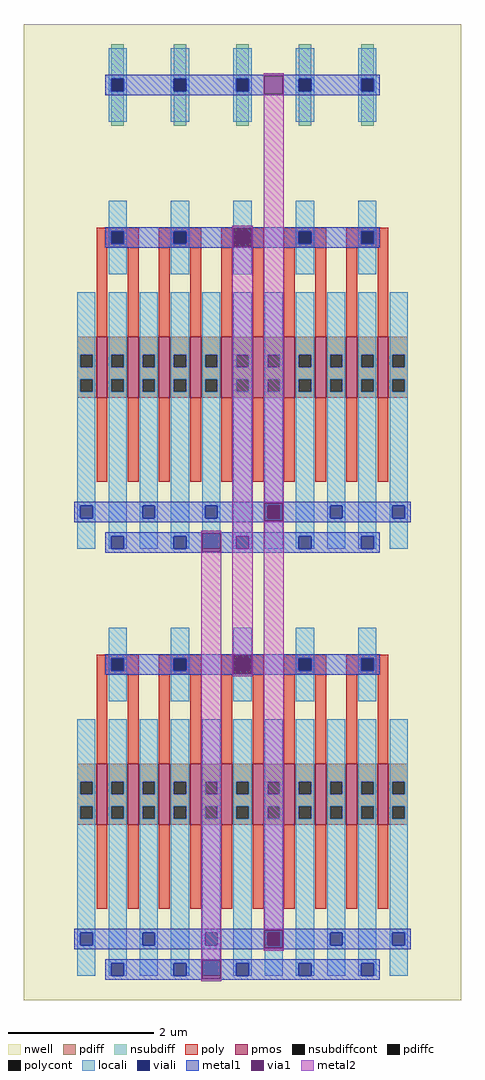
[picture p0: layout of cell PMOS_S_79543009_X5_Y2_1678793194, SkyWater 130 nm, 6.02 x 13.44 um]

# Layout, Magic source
magic
tech sky130A
magscale 1 2
<< nwell >>
rect 0 0 1204 2688
<< pmos >>
rect 200 1659 230 1827
rect 286 1659 316 1827
rect 372 1659 402 1827
rect 458 1659 488 1827
rect 544 1659 574 1827
rect 630 1659 660 1827
rect 716 1659 746 1827
rect 802 1659 832 1827
rect 888 1659 918 1827
rect 974 1659 1004 1827
rect 200 483 230 651
rect 286 483 316 651
rect 372 483 402 651
rect 458 483 488 651
rect 544 483 574 651
rect 630 483 660 651
rect 716 483 746 651
rect 802 483 832 651
rect 888 483 918 651
rect 974 483 1004 651
<< pdiff >>
rect 147 1777 200 1827
rect 147 1743 155 1777
rect 189 1743 200 1777
rect 147 1709 200 1743
rect 147 1675 155 1709
rect 189 1675 200 1709
rect 147 1659 200 1675
rect 230 1777 286 1827
rect 230 1743 241 1777
rect 275 1743 286 1777
rect 230 1709 286 1743
rect 230 1675 241 1709
rect 275 1675 286 1709
rect 230 1659 286 1675
rect 316 1777 372 1827
rect 316 1743 327 1777
rect 361 1743 372 1777
rect 316 1709 372 1743
rect 316 1675 327 1709
rect 361 1675 372 1709
rect 316 1659 372 1675
rect 402 1777 458 1827
rect 402 1743 413 1777
rect 447 1743 458 1777
rect 402 1709 458 1743
rect 402 1675 413 1709
rect 447 1675 458 1709
rect 402 1659 458 1675
rect 488 1777 544 1827
rect 488 1743 499 1777
rect 533 1743 544 1777
rect 488 1709 544 1743
rect 488 1675 499 1709
rect 533 1675 544 1709
rect 488 1659 544 1675
rect 574 1777 630 1827
rect 574 1743 585 1777
rect 619 1743 630 1777
rect 574 1709 630 1743
rect 574 1675 585 1709
rect 619 1675 630 1709
rect 574 1659 630 1675
rect 660 1777 716 1827
rect 660 1743 671 1777
rect 705 1743 716 1777
rect 660 1709 716 1743
rect 660 1675 671 1709
rect 705 1675 716 1709
rect 660 1659 716 1675
rect 746 1777 802 1827
rect 746 1743 757 1777
rect 791 1743 802 1777
rect 746 1709 802 1743
rect 746 1675 757 1709
rect 791 1675 802 1709
rect 746 1659 802 1675
rect 832 1777 888 1827
rect 832 1743 843 1777
rect 877 1743 888 1777
rect 832 1709 888 1743
rect 832 1675 843 1709
rect 877 1675 888 1709
rect 832 1659 888 1675
rect 918 1777 974 1827
rect 918 1743 929 1777
rect 963 1743 974 1777
rect 918 1709 974 1743
rect 918 1675 929 1709
rect 963 1675 974 1709
rect 918 1659 974 1675
rect 1004 1777 1057 1827
rect 1004 1743 1015 1777
rect 1049 1743 1057 1777
rect 1004 1709 1057 1743
rect 1004 1675 1015 1709
rect 1049 1675 1057 1709
rect 1004 1659 1057 1675
rect 147 601 200 651
rect 147 567 155 601
rect 189 567 200 601
rect 147 533 200 567
rect 147 499 155 533
rect 189 499 200 533
rect 147 483 200 499
rect 230 601 286 651
rect 230 567 241 601
rect 275 567 286 601
rect 230 533 286 567
rect 230 499 241 533
rect 275 499 286 533
rect 230 483 286 499
rect 316 601 372 651
rect 316 567 327 601
rect 361 567 372 601
rect 316 533 372 567
rect 316 499 327 533
rect 361 499 372 533
rect 316 483 372 499
rect 402 601 458 651
rect 402 567 413 601
rect 447 567 458 601
rect 402 533 458 567
rect 402 499 413 533
rect 447 499 458 533
rect 402 483 458 499
rect 488 601 544 651
rect 488 567 499 601
rect 533 567 544 601
rect 488 533 544 567
rect 488 499 499 533
rect 533 499 544 533
rect 488 483 544 499
rect 574 601 630 651
rect 574 567 585 601
rect 619 567 630 601
rect 574 533 630 567
rect 574 499 585 533
rect 619 499 630 533
rect 574 483 630 499
rect 660 601 716 651
rect 660 567 671 601
rect 705 567 716 601
rect 660 533 716 567
rect 660 499 671 533
rect 705 499 716 533
rect 660 483 716 499
rect 746 601 802 651
rect 746 567 757 601
rect 791 567 802 601
rect 746 533 802 567
rect 746 499 757 533
rect 791 499 802 533
rect 746 483 802 499
rect 832 601 888 651
rect 832 567 843 601
rect 877 567 888 601
rect 832 533 888 567
rect 832 499 843 533
rect 877 499 888 533
rect 832 483 888 499
rect 918 601 974 651
rect 918 567 929 601
rect 963 567 974 601
rect 918 533 974 567
rect 918 499 929 533
rect 963 499 974 533
rect 918 483 974 499
rect 1004 601 1057 651
rect 1004 567 1015 601
rect 1049 567 1057 601
rect 1004 533 1057 567
rect 1004 499 1015 533
rect 1049 499 1057 533
rect 1004 483 1057 499
<< pdiffc >>
rect 155 1743 189 1777
rect 155 1675 189 1709
rect 241 1743 275 1777
rect 241 1675 275 1709
rect 327 1743 361 1777
rect 327 1675 361 1709
rect 413 1743 447 1777
rect 413 1675 447 1709
rect 499 1743 533 1777
rect 499 1675 533 1709
rect 585 1743 619 1777
rect 585 1675 619 1709
rect 671 1743 705 1777
rect 671 1675 705 1709
rect 757 1743 791 1777
rect 757 1675 791 1709
rect 843 1743 877 1777
rect 843 1675 877 1709
rect 929 1743 963 1777
rect 929 1675 963 1709
rect 1015 1743 1049 1777
rect 1015 1675 1049 1709
rect 155 567 189 601
rect 155 499 189 533
rect 241 567 275 601
rect 241 499 275 533
rect 327 567 361 601
rect 327 499 361 533
rect 413 567 447 601
rect 413 499 447 533
rect 499 567 533 601
rect 499 499 533 533
rect 585 567 619 601
rect 585 499 619 533
rect 671 567 705 601
rect 671 499 705 533
rect 757 567 791 601
rect 757 499 791 533
rect 843 567 877 601
rect 843 499 877 533
rect 929 567 963 601
rect 929 499 963 533
rect 1015 567 1049 601
rect 1015 499 1049 533
<< nsubdiff >>
rect 241 2537 275 2632
rect 241 2408 275 2503
rect 413 2537 447 2632
rect 413 2408 447 2503
rect 585 2537 619 2632
rect 585 2408 619 2503
rect 757 2537 791 2632
rect 757 2408 791 2503
rect 929 2537 963 2632
rect 929 2408 963 2503
<< nsubdiffcont >>
rect 241 2503 275 2537
rect 413 2503 447 2537
rect 585 2503 619 2537
rect 757 2503 791 2537
rect 929 2503 963 2537
<< poly >>
rect 200 2117 316 2127
rect 200 2083 241 2117
rect 275 2083 316 2117
rect 200 2073 316 2083
rect 200 1827 230 2073
rect 286 1827 316 2073
rect 372 2117 488 2127
rect 372 2083 413 2117
rect 447 2083 488 2117
rect 372 2073 488 2083
rect 372 1827 402 2073
rect 458 1827 488 2073
rect 544 2117 660 2127
rect 544 2083 585 2117
rect 619 2083 660 2117
rect 544 2073 660 2083
rect 544 1827 574 2073
rect 630 1827 660 2073
rect 716 2117 832 2127
rect 716 2083 757 2117
rect 791 2083 832 2117
rect 716 2073 832 2083
rect 716 1827 746 2073
rect 802 1827 832 2073
rect 888 2117 1004 2127
rect 888 2083 929 2117
rect 963 2083 1004 2117
rect 888 2073 1004 2083
rect 888 1827 918 2073
rect 974 1827 1004 2073
rect 200 1428 230 1659
rect 286 1428 316 1659
rect 372 1428 402 1659
rect 458 1428 488 1659
rect 544 1428 574 1659
rect 630 1428 660 1659
rect 716 1428 746 1659
rect 802 1428 832 1659
rect 888 1428 918 1659
rect 974 1428 1004 1659
rect 200 941 316 951
rect 200 907 241 941
rect 275 907 316 941
rect 200 897 316 907
rect 200 651 230 897
rect 286 651 316 897
rect 372 941 488 951
rect 372 907 413 941
rect 447 907 488 941
rect 372 897 488 907
rect 372 651 402 897
rect 458 651 488 897
rect 544 941 660 951
rect 544 907 585 941
rect 619 907 660 941
rect 544 897 660 907
rect 544 651 574 897
rect 630 651 660 897
rect 716 941 832 951
rect 716 907 757 941
rect 791 907 832 941
rect 716 897 832 907
rect 716 651 746 897
rect 802 651 832 897
rect 888 941 1004 951
rect 888 907 929 941
rect 963 907 1004 941
rect 888 897 1004 907
rect 888 651 918 897
rect 974 651 1004 897
rect 200 252 230 483
rect 286 252 316 483
rect 372 252 402 483
rect 458 252 488 483
rect 544 252 574 483
rect 630 252 660 483
rect 716 252 746 483
rect 802 252 832 483
rect 888 252 918 483
rect 974 252 1004 483
<< polycont >>
rect 241 2083 275 2117
rect 413 2083 447 2117
rect 585 2083 619 2117
rect 757 2083 791 2117
rect 929 2083 963 2117
rect 241 907 275 941
rect 413 907 447 941
rect 585 907 619 941
rect 757 907 791 941
rect 929 907 963 941
<< locali >>
rect 233 2537 283 2621
rect 233 2503 241 2537
rect 275 2503 283 2537
rect 233 2419 283 2503
rect 405 2537 455 2621
rect 405 2503 413 2537
rect 447 2503 455 2537
rect 405 2419 455 2503
rect 577 2537 627 2621
rect 577 2503 585 2537
rect 619 2503 627 2537
rect 577 2419 627 2503
rect 749 2537 799 2621
rect 749 2503 757 2537
rect 791 2503 799 2537
rect 749 2419 799 2503
rect 921 2537 971 2621
rect 921 2503 929 2537
rect 963 2503 971 2537
rect 921 2419 971 2503
rect 233 2117 283 2201
rect 233 2083 241 2117
rect 275 2083 283 2117
rect 233 1999 283 2083
rect 405 2117 455 2201
rect 405 2083 413 2117
rect 447 2083 455 2117
rect 405 1999 455 2083
rect 577 2117 627 2201
rect 577 2083 585 2117
rect 619 2083 627 2117
rect 577 1999 627 2083
rect 749 2117 799 2201
rect 749 2083 757 2117
rect 791 2083 799 2117
rect 749 1999 799 2083
rect 921 2117 971 2201
rect 921 2083 929 2117
rect 963 2083 971 2117
rect 921 1999 971 2083
rect 147 1777 197 1949
rect 147 1743 155 1777
rect 189 1743 197 1777
rect 147 1709 197 1743
rect 147 1675 155 1709
rect 189 1675 197 1709
rect 147 1361 197 1675
rect 147 1327 155 1361
rect 189 1327 197 1361
rect 147 1243 197 1327
rect 233 1777 283 1949
rect 233 1743 241 1777
rect 275 1743 283 1777
rect 233 1709 283 1743
rect 233 1675 241 1709
rect 275 1675 283 1709
rect 233 1277 283 1675
rect 233 1243 241 1277
rect 275 1243 283 1277
rect 319 1777 369 1949
rect 319 1743 327 1777
rect 361 1743 369 1777
rect 319 1709 369 1743
rect 319 1675 327 1709
rect 361 1675 369 1709
rect 319 1361 369 1675
rect 319 1327 327 1361
rect 361 1327 369 1361
rect 319 1243 369 1327
rect 405 1777 455 1949
rect 405 1743 413 1777
rect 447 1743 455 1777
rect 405 1709 455 1743
rect 405 1675 413 1709
rect 447 1675 455 1709
rect 405 1277 455 1675
rect 405 1243 413 1277
rect 447 1243 455 1277
rect 491 1777 541 1949
rect 491 1743 499 1777
rect 533 1743 541 1777
rect 491 1709 541 1743
rect 491 1675 499 1709
rect 533 1675 541 1709
rect 491 1361 541 1675
rect 491 1327 499 1361
rect 533 1327 541 1361
rect 491 1243 541 1327
rect 577 1777 627 1949
rect 577 1743 585 1777
rect 619 1743 627 1777
rect 577 1709 627 1743
rect 577 1675 585 1709
rect 619 1675 627 1709
rect 577 1277 627 1675
rect 577 1243 585 1277
rect 619 1243 627 1277
rect 663 1777 713 1949
rect 663 1743 671 1777
rect 705 1743 713 1777
rect 663 1709 713 1743
rect 663 1675 671 1709
rect 705 1675 713 1709
rect 663 1361 713 1675
rect 663 1327 671 1361
rect 705 1327 713 1361
rect 663 1243 713 1327
rect 749 1777 799 1949
rect 749 1743 757 1777
rect 791 1743 799 1777
rect 749 1709 799 1743
rect 749 1675 757 1709
rect 791 1675 799 1709
rect 749 1277 799 1675
rect 749 1243 757 1277
rect 791 1243 799 1277
rect 835 1777 885 1949
rect 835 1743 843 1777
rect 877 1743 885 1777
rect 835 1709 885 1743
rect 835 1675 843 1709
rect 877 1675 885 1709
rect 835 1361 885 1675
rect 835 1327 843 1361
rect 877 1327 885 1361
rect 835 1243 885 1327
rect 921 1777 971 1949
rect 921 1743 929 1777
rect 963 1743 971 1777
rect 921 1709 971 1743
rect 921 1675 929 1709
rect 963 1675 971 1709
rect 921 1277 971 1675
rect 921 1243 929 1277
rect 963 1243 971 1277
rect 1007 1777 1057 1949
rect 1007 1743 1015 1777
rect 1049 1743 1057 1777
rect 1007 1709 1057 1743
rect 1007 1675 1015 1709
rect 1049 1675 1057 1709
rect 1007 1361 1057 1675
rect 1007 1327 1015 1361
rect 1049 1327 1057 1361
rect 1007 1243 1057 1327
rect 233 941 283 1025
rect 233 907 241 941
rect 275 907 283 941
rect 233 823 283 907
rect 405 941 455 1025
rect 405 907 413 941
rect 447 907 455 941
rect 405 823 455 907
rect 577 941 627 1025
rect 577 907 585 941
rect 619 907 627 941
rect 577 823 627 907
rect 749 941 799 1025
rect 749 907 757 941
rect 791 907 799 941
rect 749 823 799 907
rect 921 941 971 1025
rect 921 907 929 941
rect 963 907 971 941
rect 921 823 971 907
rect 147 601 197 773
rect 147 567 155 601
rect 189 567 197 601
rect 147 533 197 567
rect 147 499 155 533
rect 189 499 197 533
rect 147 185 197 499
rect 147 151 155 185
rect 189 151 197 185
rect 147 67 197 151
rect 233 601 283 773
rect 233 567 241 601
rect 275 567 283 601
rect 233 533 283 567
rect 233 499 241 533
rect 275 499 283 533
rect 233 101 283 499
rect 233 67 241 101
rect 275 67 283 101
rect 319 601 369 773
rect 319 567 327 601
rect 361 567 369 601
rect 319 533 369 567
rect 319 499 327 533
rect 361 499 369 533
rect 319 185 369 499
rect 319 151 327 185
rect 361 151 369 185
rect 319 67 369 151
rect 405 601 455 773
rect 405 567 413 601
rect 447 567 455 601
rect 405 533 455 567
rect 405 499 413 533
rect 447 499 455 533
rect 405 101 455 499
rect 405 67 413 101
rect 447 67 455 101
rect 491 601 541 773
rect 491 567 499 601
rect 533 567 541 601
rect 491 533 541 567
rect 491 499 499 533
rect 533 499 541 533
rect 491 185 541 499
rect 491 151 499 185
rect 533 151 541 185
rect 491 67 541 151
rect 577 601 627 773
rect 577 567 585 601
rect 619 567 627 601
rect 577 533 627 567
rect 577 499 585 533
rect 619 499 627 533
rect 577 101 627 499
rect 577 67 585 101
rect 619 67 627 101
rect 663 601 713 773
rect 663 567 671 601
rect 705 567 713 601
rect 663 533 713 567
rect 663 499 671 533
rect 705 499 713 533
rect 663 185 713 499
rect 663 151 671 185
rect 705 151 713 185
rect 663 67 713 151
rect 749 601 799 773
rect 749 567 757 601
rect 791 567 799 601
rect 749 533 799 567
rect 749 499 757 533
rect 791 499 799 533
rect 749 101 799 499
rect 749 67 757 101
rect 791 67 799 101
rect 835 601 885 773
rect 835 567 843 601
rect 877 567 885 601
rect 835 533 885 567
rect 835 499 843 533
rect 877 499 885 533
rect 835 185 885 499
rect 835 151 843 185
rect 877 151 885 185
rect 835 67 885 151
rect 921 601 971 773
rect 921 567 929 601
rect 963 567 971 601
rect 921 533 971 567
rect 921 499 929 533
rect 963 499 971 533
rect 921 101 971 499
rect 921 67 929 101
rect 963 67 971 101
rect 1007 601 1057 773
rect 1007 567 1015 601
rect 1049 567 1057 601
rect 1007 533 1057 567
rect 1007 499 1015 533
rect 1049 499 1057 533
rect 1007 185 1057 499
rect 1007 151 1015 185
rect 1049 151 1057 185
rect 1007 67 1057 151
<< viali >>
rect 241 2503 275 2537
rect 413 2503 447 2537
rect 585 2503 619 2537
rect 757 2503 791 2537
rect 929 2503 963 2537
rect 241 2083 275 2117
rect 413 2083 447 2117
rect 585 2083 619 2117
rect 757 2083 791 2117
rect 929 2083 963 2117
rect 155 1327 189 1361
rect 241 1243 275 1277
rect 327 1327 361 1361
rect 413 1243 447 1277
rect 499 1327 533 1361
rect 585 1243 619 1277
rect 671 1327 705 1361
rect 757 1243 791 1277
rect 843 1327 877 1361
rect 929 1243 963 1277
rect 1015 1327 1049 1361
rect 241 907 275 941
rect 413 907 447 941
rect 585 907 619 941
rect 757 907 791 941
rect 929 907 963 941
rect 155 151 189 185
rect 241 67 275 101
rect 327 151 361 185
rect 413 67 447 101
rect 499 151 533 185
rect 585 67 619 101
rect 671 151 705 185
rect 757 67 791 101
rect 843 151 877 185
rect 929 67 963 101
rect 1015 151 1049 185
<< metal1 >>
rect 224 2546 980 2548
rect 224 2537 662 2546
rect 224 2503 241 2537
rect 275 2503 413 2537
rect 447 2503 585 2537
rect 619 2503 662 2537
rect 224 2494 662 2503
rect 714 2537 980 2546
rect 714 2503 757 2537
rect 791 2503 929 2537
rect 963 2503 980 2537
rect 714 2494 980 2503
rect 224 2492 980 2494
rect 224 2126 980 2128
rect 224 2117 576 2126
rect 628 2117 980 2126
rect 224 2083 241 2117
rect 275 2083 413 2117
rect 447 2083 576 2117
rect 628 2083 757 2117
rect 791 2083 929 2117
rect 963 2083 980 2117
rect 224 2074 576 2083
rect 628 2074 980 2083
rect 224 2072 980 2074
rect 138 1370 1066 1372
rect 138 1361 662 1370
rect 714 1361 1066 1370
rect 138 1327 155 1361
rect 189 1327 327 1361
rect 361 1327 499 1361
rect 533 1327 662 1361
rect 714 1327 843 1361
rect 877 1327 1015 1361
rect 1049 1327 1066 1361
rect 138 1318 662 1327
rect 714 1318 1066 1327
rect 138 1316 1066 1318
rect 224 1286 980 1288
rect 224 1277 490 1286
rect 224 1243 241 1277
rect 275 1243 413 1277
rect 447 1243 490 1277
rect 224 1234 490 1243
rect 542 1277 980 1286
rect 542 1243 585 1277
rect 619 1243 757 1277
rect 791 1243 929 1277
rect 963 1243 980 1277
rect 542 1234 980 1243
rect 224 1232 980 1234
rect 224 950 980 952
rect 224 941 576 950
rect 628 941 980 950
rect 224 907 241 941
rect 275 907 413 941
rect 447 907 576 941
rect 628 907 757 941
rect 791 907 929 941
rect 963 907 980 941
rect 224 898 576 907
rect 628 898 980 907
rect 224 896 980 898
rect 138 194 1066 196
rect 138 185 662 194
rect 714 185 1066 194
rect 138 151 155 185
rect 189 151 327 185
rect 361 151 499 185
rect 533 151 662 185
rect 714 151 843 185
rect 877 151 1015 185
rect 1049 151 1066 185
rect 138 142 662 151
rect 714 142 1066 151
rect 138 140 1066 142
rect 224 110 980 112
rect 224 101 490 110
rect 224 67 241 101
rect 275 67 413 101
rect 447 67 490 101
rect 224 58 490 67
rect 542 101 980 110
rect 542 67 585 101
rect 619 67 757 101
rect 791 67 929 101
rect 963 67 980 101
rect 542 58 980 67
rect 224 56 980 58
<< via1 >>
rect 662 2494 714 2546
rect 576 2117 628 2126
rect 576 2083 585 2117
rect 585 2083 619 2117
rect 619 2083 628 2117
rect 576 2074 628 2083
rect 662 1361 714 1370
rect 662 1327 671 1361
rect 671 1327 705 1361
rect 705 1327 714 1361
rect 662 1318 714 1327
rect 490 1234 542 1286
rect 576 941 628 950
rect 576 907 585 941
rect 585 907 619 941
rect 619 907 628 941
rect 576 898 628 907
rect 662 185 714 194
rect 662 151 671 185
rect 671 151 705 185
rect 705 151 714 185
rect 662 142 714 151
rect 490 58 542 110
<< metal2 >>
rect 660 2546 716 2552
rect 660 2494 662 2546
rect 714 2494 716 2546
rect 574 2126 630 2132
rect 574 2074 576 2126
rect 628 2074 630 2126
rect 488 1286 544 1292
rect 488 1234 490 1286
rect 542 1234 544 1286
rect 488 110 544 1234
rect 574 950 630 2074
rect 574 898 576 950
rect 628 898 630 950
rect 574 892 630 898
rect 660 1370 716 2494
rect 660 1318 662 1370
rect 714 1318 716 1370
rect 660 194 716 1318
rect 660 142 662 194
rect 714 142 716 194
rect 660 136 716 142
rect 488 58 490 110
rect 542 58 544 110
rect 488 52 544 58
<< end >>
